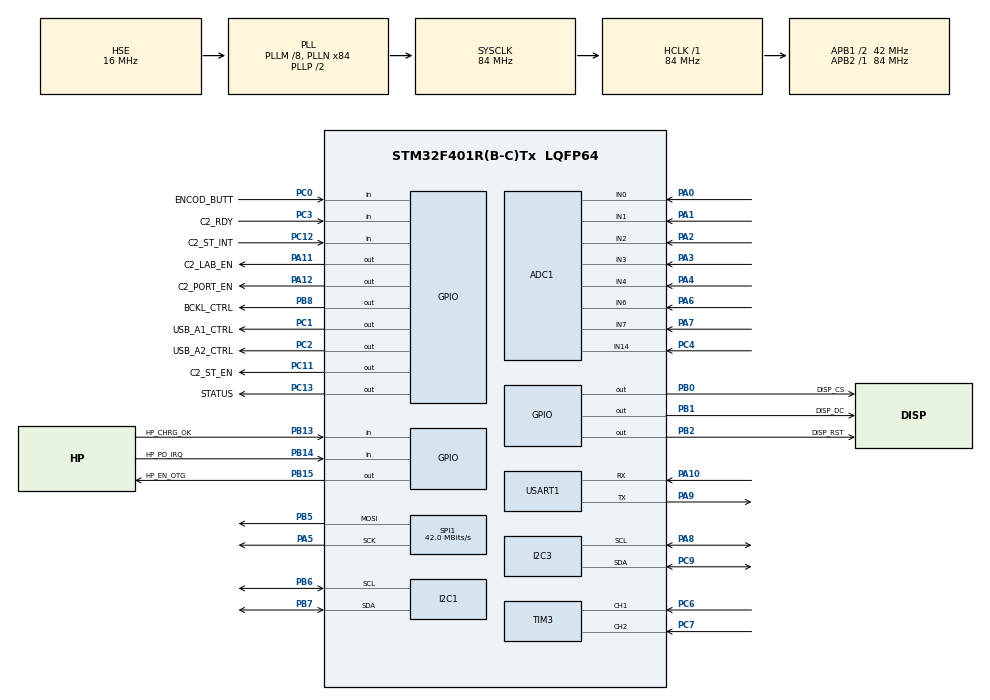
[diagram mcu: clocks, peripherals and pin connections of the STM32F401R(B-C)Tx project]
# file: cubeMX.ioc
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ADC1.Channel-0\#ChannelRegularConversion=ADC_CHANNEL_0
ADC1.Channel-1\#ChannelRegularConversion=ADC_CHANNEL_1
ADC1.Channel-2\#ChannelRegularConversion=ADC_CHANNEL_2
ADC1.Channel-3\#ChannelRegularConversion=ADC_CHANNEL_3
ADC1.Channel-4\#ChannelRegularConversion=ADC_CHANNEL_4
ADC1.Channel-5\#ChannelRegularConversion=ADC_CHANNEL_6
ADC1.Channel-6\#ChannelRegularConversion=ADC_CHANNEL_7
ADC1.Channel-7\#ChannelRegularConversion=ADC_CHANNEL_14
ADC1.NbrOfConversion=8
ADC1.NbrOfConversionFlag=1
ADC1.Rank-0\#ChannelRegularConversion=1
ADC1.Rank-1\#ChannelRegularConversion=2
ADC1.Rank-2\#ChannelRegularConversion=3
ADC1.Rank-3\#ChannelRegularConversion=4
ADC1.Rank-4\#ChannelRegularConversion=5
ADC1.Rank-5\#ChannelRegularConversion=6
ADC1.Rank-6\#ChannelRegularConversion=7
ADC1.Rank-7\#ChannelRegularConversion=8
ADC1.SamplingTime-0\#ChannelRegularConversion=ADC_SAMPLETIME_480CYCLES
ADC1.SamplingTime-1\#ChannelRegularConversion=ADC_SAMPLETIME_480CYCLES
ADC1.SamplingTime-2\#ChannelRegularConversion=ADC_SAMPLETIME_480CYCLES
ADC1.SamplingTime-3\#ChannelRegularConversion=ADC_SAMPLETIME_480CYCLES
ADC1.SamplingTime-4\#ChannelRegularConversion=ADC_SAMPLETIME_480CYCLES
ADC1.SamplingTime-5\#ChannelRegularConversion=ADC_SAMPLETIME_480CYCLES
ADC1.SamplingTime-6\#ChannelRegularConversion=ADC_SAMPLETIME_480CYCLES
ADC1.SamplingTime-7\#ChannelRegularConversion=ADC_SAMPLETIME_480CYCLES
ADC1.ScanConvMode=ENABLE
ADC1.master=1
I2C1.I2C_Mode=I2C_Fast
Mcu.Family=STM32F4
Mcu.Name=STM32F401R(B-C)Tx
Mcu.Package=LQFP64
NVIC.PriorityGroup=NVIC_PRIORITYGROUP_4
PA0-WKUP.Signal=ADCx_IN0
PA1.Signal=ADCx_IN1
PA10.Mode=Asynchronous
PA10.Signal=USART1_RX
PA11.GPIO_Label=C2_LAB_EN
PA11.Signal=GPIO_Output
PA12.GPIO_Label=C2_PORT_EN
PA12.Signal=GPIO_Output
PA13.Mode=Trace_Asynchronous_SW
PA13.Signal=SYS_JTMS-SWDIO
PA14.Mode=Trace_Asynchronous_SW
PA14.Signal=SYS_JTCK-SWCLK
PA2.Signal=ADCx_IN2
PA3.Signal=ADCx_IN3
PA4.Signal=ADCx_IN4
PA5.Mode=TX_Only_Simplex_Unidirect_Master
PA5.Signal=SPI1_SCK
PA6.Signal=ADCx_IN6
PA7.Signal=ADCx_IN7
PA8.Mode=I2C
PA8.Signal=I2C3_SCL
PA9.Mode=Asynchronous
PA9.Signal=USART1_TX
PB0.GPIO_Label=DISP_CS
PB0.GPIO_Speed=GPIO_SPEED_FREQ_VERY_HIGH
PB0.PinState=GPIO_PIN_SET
PB0.Signal=GPIO_Output
PB1.GPIO_Label=DISP_DC
PB1.GPIO_Speed=GPIO_SPEED_FREQ_VERY_HIGH
PB1.Signal=GPIO_Output
PB13.GPIO_Label=HP_CHRG_OK
PB13.Signal=GPIO_Input
PB14.GPIO_Label=HP_PD_IRQ
PB14.Signal=GPIO_Input
PB15.GPIO_Label=HP_EN_OTG
PB15.Signal=GPIO_Output
PB2.GPIO_Label=DISP_RST
PB2.PinState=GPIO_PIN_SET
PB2.Signal=GPIO_Output
PB3.Mode=Trace_Asynchronous_SW
PB3.Signal=SYS_JTDO-SWO
PB5.Mode=TX_Only_Simplex_Unidirect_Master
PB5.Signal=SPI1_MOSI
PB6.Mode=I2C
PB6.Signal=I2C1_SCL
PB7.Mode=I2C
PB7.Signal=I2C1_SDA
PB8.GPIO_Label=BCKL_CTRL
PB8.Signal=GPIO_Output
PC0.GPIO_Label=ENCOD_BUTT
PC0.Signal=GPIO_Input
PC1.GPIO_Label=USB_A1_CTRL
PC1.Signal=GPIO_Output
PC11.GPIO_Label=C2_ST_EN
PC11.Signal=GPIO_Output
PC12.GPIO_Label=C2_ST_INT
PC12.Signal=GPIO_Input
PC13-ANTI_TAMP.GPIO_Label=STATUS
PC13-ANTI_TAMP.PinState=GPIO_PIN_SET
PC13-ANTI_TAMP.Signal=GPIO_Output
PC2.GPIO_Label=USB_A2_CTRL
PC2.Signal=GPIO_Output
PC3.GPIO_Label=C2_RDY
PC3.Signal=GPIO_Input
PC4.Signal=ADCx_IN14
PC6.Signal=S_TIM3_CH1
PC7.Signal=S_TIM3_CH2
PC9.Mode=I2C
PC9.Signal=I2C3_SDA
PH0\ -\ OSC_IN.Mode=HSE-External-Oscillator
PH0\ -\ OSC_IN.Signal=RCC_OSC_IN
PH1\ -\ OSC_OUT.Mode=HSE-External-Oscillator
PH1\ -\ OSC_OUT.Signal=RCC_OSC_OUT
ProjectManager.HeapSize=0x200
ProjectManager.StackSize=0x400
ProjectManager.TargetToolchain=Makefile
RCC.48MHZClocksFreq_Value=42000000
RCC.AHBFreq_Value=84000000
RCC.APB1CLKDivider=RCC_HCLK_DIV2
RCC.APB1Freq_Value=42000000
RCC.APB1TimFreq_Value=84000000
RCC.APB2Freq_Value=84000000
RCC.APB2TimFreq_Value=84000000
RCC.CortexFreq_Value=84000000
RCC.HCLKFreq_Value=84000000
RCC.HSE_VALUE=16000000
RCC.HSI_VALUE=16000000
RCC.LSE_VALUE=32768
RCC.PLLM=8
RCC.PLLN=84
RCC.PLLSourceVirtual=RCC_PLLSOURCE_HSE
RCC.SYSCLKFreq_VALUE=84000000
RCC.SYSCLKSource=RCC_SYSCLKSOURCE_PLLCLK
RCC.VCOOutputFreq_Value=168000000
SH.ADCx_IN0.0=ADC1_IN0,IN0
SH.ADCx_IN1.0=ADC1_IN1,IN1
SH.ADCx_IN14.0=ADC1_IN14,IN14
SH.ADCx_IN2.0=ADC1_IN2,IN2
SH.ADCx_IN3.0=ADC1_IN3,IN3
SH.ADCx_IN4.0=ADC1_IN4,IN4
SH.ADCx_IN6.0=ADC1_IN6,IN6
SH.ADCx_IN7.0=ADC1_IN7,IN7
SH.S_TIM3_CH1.0=TIM3_CH1,Encoder_Interface
SH.S_TIM3_CH2.0=TIM3_CH2,Encoder_Interface
SPI1.CalculateBaudRate=42.0 MBits/s
SPI1.Direction=SPI_DIRECTION_2LINES
SPI1.Mode=SPI_MODE_MASTER
SPI1.VirtualType=VM_MASTER
USART1.VirtualMode=VM_ASYNC
board=custom

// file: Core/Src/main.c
/* USER CODE BEGIN Header */
/**
 ******************************************************************************
 * @file           : main.c
 * @brief          : Main program body
 ******************************************************************************
 * @attention
 *
 * Copyright (c) 2026 STMicroelectronics.
 * All rights reserved.
 *
 * This software is licensed under terms that can be found in the LICENSE file
 * in the root directory of this software component.
 * If no LICENSE file comes with this software, it is provided AS-IS.
 *
 ******************************************************************************
 */
/* USER CODE END Header */
#include "main.h"
#include "adc.h"
#include "gpio.h"
#include "i2c.h"
#include "spi.h"
#include "tim.h"
#include "usart.h"

/* USER CODE BEGIN Includes */
#include "app/initialization.h"   /* every-boot IC init (TPS25750 patch, INA3221, STPD01) */
#include "app/provisioning.h"     /* one-time BQ34Z100 data-flash provisioning */
#include "system/charge.h"
#include "system/fsm.h"
#include "app/encoder.h"
#include "app/telemetry.h"
#include "display/ili9341.h"
#include "ui/ui_state.h"
/* USER CODE END Includes */

/* USER CODE BEGIN PV */
static FSM fsm;
static uint32_t lastActivityTick = 0;
static uint32_t lastEncoderActivityTick = 0;
/* USER CODE END PV */

void SystemClock_Config(void);

int main(void) {

  /* MCU Configuration--------------------------------------------------------*/

  /* Reset of all peripherals, Initializes the Flash interface and the Systick.
   */
  HAL_Init();

  /* Configure the system clock */
  SystemClock_Config();

  /* Initialize all configured peripherals */
  MX_GPIO_Init();
  MX_ADC1_Init();
  MX_I2C1_Init();
  MX_SPI1_Init();
  MX_TIM3_Init();
  MX_USART1_UART_Init();
  MX_I2C3_Init();
  /* USER CODE BEGIN 2 */
  /* Boot camp: every IC with volatile config gets initialized here.
   * A failed step degrades the boot (report available for the UI),
   * it never blocks it. */
  (void)System_Initialization();

  /* Fuel-gauge data flash: one-time, marker-guarded, refuses to run
   * unless the pack is at rest. No-op on already-provisioned units. */
  if (Provisioning_Required()) {
    (void)Provisioning_RunGauge();
  }

  Encoder_Init(&htim3);
  Telemetry_Init(&hi2c1, &hi2c3);
  ILI9341_Init(&hspi1);
  UI_Init();

  init();
  PB_FSM_Init(&fsm);
  lastActivityTick = HAL_GetTick();
  /* USER CODE END 2 */

  /* Infinite loop */
  while (1) {

    /* USER CODE BEGIN 3 */
    readNCS();

    Event_t evt;
    if (event_pop(&evt)) {
      if (evt == EVT_BUTTON_SHORT || evt == EVT_BUTTON_LONG)
        lastActivityTick = HAL_GetTick();
      PB_FSM_FireEvent(&fsm, evt);
    }

    /* Real knob/button activity also counts against the global inactivity
     * timer -- otherwise SLEEP/DEEP_SLEEP would still fire on schedule
     * while the user is actively turning the encoder. */
    uint32_t encoderActivityTick = Encoder_LastActivityTick();
    if (encoderActivityTick != lastEncoderActivityTick) {
      lastEncoderActivityTick = encoderActivityTick;
      lastActivityTick = HAL_GetTick();
    }

    /* Deep-sleep entry: encoder button held >= BUTTON_DEEPSLEEP_HOLD_MS,
     * then released, pushes EVT_BUTTON_LONG (IDLE/SLEEP -> DEEP_SLEEP).
     * On release and not while held: STOP mode wakes on both EXTI0 edges,
     * so sleeping with the button still down would wake immediately. */
    static uint32_t holdStartTick = 0;
    if (Encoder_IsHeld()) {
      if (holdStartTick == 0)
        holdStartTick = HAL_GetTick();
    } else {
      if (holdStartTick != 0 &&
          HAL_GetTick() - holdStartTick >= BUTTON_DEEPSLEEP_HOLD_MS)
        event_push(EVT_BUTTON_LONG);
      holdStartTick = 0;
    }

    if (HAL_GetTick() - lastActivityTick > INACTIVITY_TIMEOUT_MS) {
      event_push(EVT_INACTIVITY);
      lastActivityTick = HAL_GetTick();
    }

    State_ID_t stateBeforeUpdate = PB_FSM_GetState(&fsm);
    PB_FSM_Update(&fsm);

    /* Leaving DEEP_SLEEP: the UI was frozen mid-screen when the MCU
     * stopped; restart it from the splash and swallow the wake press. */
    if (stateBeforeUpdate == STATE_DEEP_SLEEP &&
        PB_FSM_GetState(&fsm) != STATE_DEEP_SLEEP) {
      UI_OnDeepSleepWake();
    }

    /* Reshape the charge layer's fresh readings for the UI. Must run here
     * and not inside UI_Tick(): the FSM keeps polling sensors in SLEEP
     * (Sleep_Run) but UI_Tick() is skipped below, and the uptime counter,
     * the energy integral and the per-port histories have to keep running
     * while the screen is dark. Telemetry_Poll() rate-limits itself. */
    Telemetry_Poll();

    /* Skip UI work while the FSM has the backlight physically off --
     * avoids pointless SPI/CPU churn into a dark screen. In DEEP_SLEEP
     * this also keeps the wake press latched in the encoder layer until
     * UI_OnDeepSleepWake() consumes it. */
    State_ID_t st = PB_FSM_GetState(&fsm);
    if (st != STATE_SLEEP && st != STATE_DEEP_SLEEP) {
      UI_Tick();
    } else if (st == STATE_SLEEP && Encoder_IsPressed()) {
      /* UI_Tick() is the only consumer of button presses, and it is not
       * running here: turn the raw press into the wake event ourselves,
       * or SLEEP -> IDLE could never fire on a button. Consuming the
       * press also keeps it from navigating the UI after the wake. */
      event_push(EVT_BUTTON_SHORT);
    }
  }
  /* USER CODE END 3 */
}

void SystemClock_Config(void) {
  RCC_OscInitTypeDef RCC_OscInitStruct = {0};
  RCC_ClkInitTypeDef RCC_ClkInitStruct = {0};

  /** Configure the main internal regulator output voltage
   */
  __HAL_RCC_PWR_CLK_ENABLE();
  __HAL_PWR_VOLTAGESCALING_CONFIG(PWR_REGULATOR_VOLTAGE_SCALE2);

  /** Initializes the RCC Oscillators according to the specified parameters
   * in the RCC_OscInitTypeDef structure.
   */
  RCC_OscInitStruct.OscillatorType = RCC_OSCILLATORTYPE_HSE;
  RCC_OscInitStruct.HSEState = RCC_HSE_ON;
  RCC_OscInitStruct.PLL.PLLState = RCC_PLL_ON;
  RCC_OscInitStruct.PLL.PLLSource = RCC_PLLSOURCE_HSE;
  RCC_OscInitStruct.PLL.PLLM = 8;
  RCC_OscInitStruct.PLL.PLLN = 84;
  RCC_OscInitStruct.PLL.PLLP = RCC_PLLP_DIV2;
  RCC_OscInitStruct.PLL.PLLQ = 4;
  if (HAL_RCC_OscConfig(&RCC_OscInitStruct) != HAL_OK) {
    Error_Handler();
  }

  /** Initializes the CPU, AHB and APB buses clocks
   */
  RCC_ClkInitStruct.ClockType = RCC_CLOCKTYPE_HCLK | RCC_CLOCKTYPE_SYSCLK |
                                RCC_CLOCKTYPE_PCLK1 | RCC_CLOCKTYPE_PCLK2;
  RCC_ClkInitStruct.SYSCLKSource = RCC_SYSCLKSOURCE_PLLCLK;
  RCC_ClkInitStruct.AHBCLKDivider = RCC_SYSCLK_DIV1;
  RCC_ClkInitStruct.APB1CLKDivider = RCC_HCLK_DIV2;
  RCC_ClkInitStruct.APB2CLKDivider = RCC_HCLK_DIV1;

  if (HAL_RCC_ClockConfig(&RCC_ClkInitStruct, FLASH_LATENCY_2) != HAL_OK) {
    Error_Handler();
  }
}

void Error_Handler(void) {
  __disable_irq();
  while (1) {
  }
}
#ifdef USE_FULL_ASSERT
/**
 * @brief  Reports the name of the source file and the source line number
 *         where the assert_param error has occurred.
 * @param  file: pointer to the source file name
 * @param  line: assert_param error line source number
 * @retval None
 */
void assert_failed(uint8_t *file, uint32_t line) {
  /* USER CODE BEGIN 6 */
  /* User can add his own implementation to report the file name and line
     number, ex: printf("Wrong parameters value: file %s on line %d\r\n", file,
     line) */
  /* USER CODE END 6 */
}
#endif /* USE_FULL_ASSERT */
